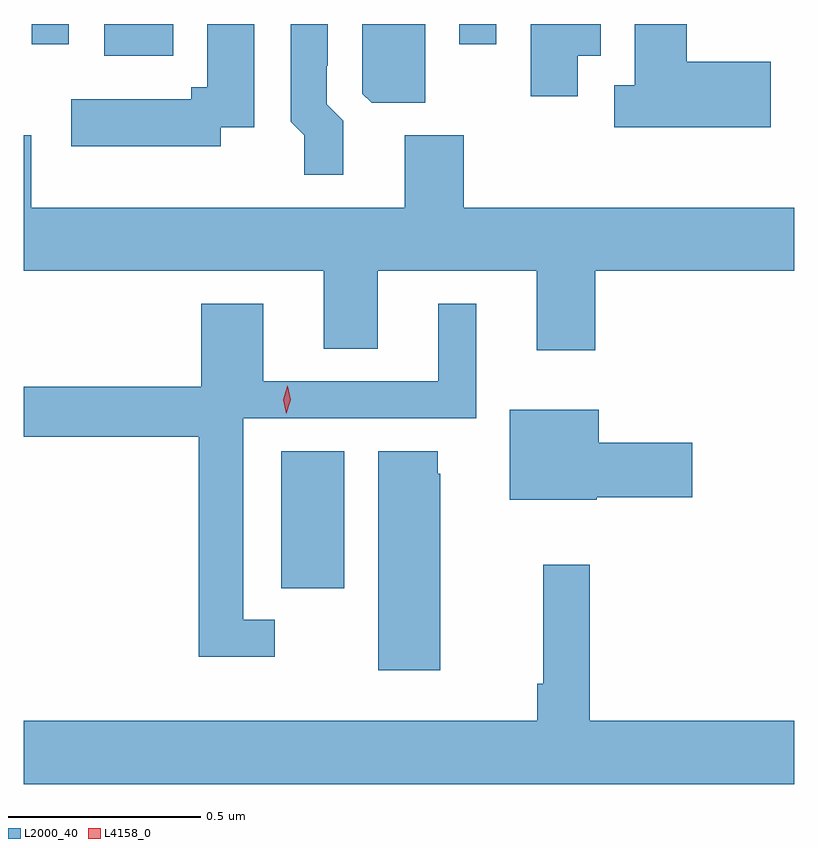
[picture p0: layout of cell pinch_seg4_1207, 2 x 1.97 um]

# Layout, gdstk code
import gdstk
lib = gdstk.Library(unit=1e-6, precision=1e-09)
def R(c, l, rs):  # rectangles x0, y0, x1, y1
    for r in rs: c.add(gdstk.rectangle(r[:2], r[2:], *l))
def P(c, l, *ps):  # polygons
    for p in ps: c.add(gdstk.Polygon(p, *l))
L2000_40 = (2000, 40)
L4158_0 = (4158, 0)

pinch_seg4_1207 = lib.new_cell('pinch_seg4_1207')
R(pinch_seg4_1207, L2000_40, [(427.07,784.008,427.234,784.364), (426.611,785.39,426.79,785.473), (426.423,785.421,426.519,785.473), (427.533,785.421,427.629,785.473)])
P(pinch_seg4_1207, L2000_40, [(428.341,785.375),(428.123,785.375),(428.123,785.473),(427.988,785.473),(427.988,785.314),(427.935,785.314),(427.935,785.205),(428.341,785.205)],
  [(427.231,785.222),(427.188,785.265),(427.188,785.365),(427.191,785.365),(427.191,785.473),(427.095,785.473),(427.095,785.219),(427.13,785.184),(427.13,785.082),(427.231,785.082)],
  [(427.84,785.39),(427.9,785.39),(427.9,785.473),(427.718,785.473),(427.718,785.286),(427.84,785.286)],
  [(426.913,785.205),(427,785.205),(427,785.473),(426.878,785.473),(426.878,785.309),(426.837,785.309),(426.837,785.278),(426.525,785.278),(426.525,785.156),(426.913,785.156)],
  [(427.444,785.473),(427.281,785.473),(427.281,785.292),(427.305,785.269),(427.444,785.269)],
  [(427.544,785.184),(427.391,785.184),(427.391,784.996),(426.421,784.996),(426.421,785.184),(426.402,785.184),(426.402,784.832),(427.181,784.832),(427.181,784.63),(427.321,784.63),(427.321,784.832),(427.733,784.832),(427.733,784.626),(427.886,784.626),(427.886,784.832),(428.402,784.832),(428.402,784.996),(427.544,784.996)],
  [(427.054,783.927),(426.972,783.927),(426.972,784.449),(427.576,784.449),(427.576,784.747),(427.478,784.747),(427.478,784.545),(427.024,784.545),(427.024,784.747),(426.863,784.747),(426.863,784.531),(426.402,784.531),(426.402,784.402),(426.856,784.402),(426.856,783.83),(427.054,783.83)],
  [(427.89,784.244),(428.137,784.244),(428.137,784.386),(427.894,784.386),(427.894,784.471),(427.664,784.471),(427.664,784.238),(427.89,784.238)],
  [(427.483,784.305),(427.477,784.305),(427.477,784.364),(427.322,784.364),(427.322,783.795),(427.483,783.795)],
  [(428.402,783.664),(427.871,783.664),(427.871,784.069),(427.75,784.069),(427.75,783.76),(427.735,783.76),(427.735,783.664),(426.402,783.664),(426.402,783.5),(428.402,783.5)])
P(pinch_seg4_1207, L4158_0, [(427.083,784.461),(427.083,784.461),(427.075,784.498),(427.086,784.533),(427.086,784.534),(427.087,784.533),(427.095,784.497),(427.083,784.461)])

lib.write_gds('pinch_seg4_1207.gds')
